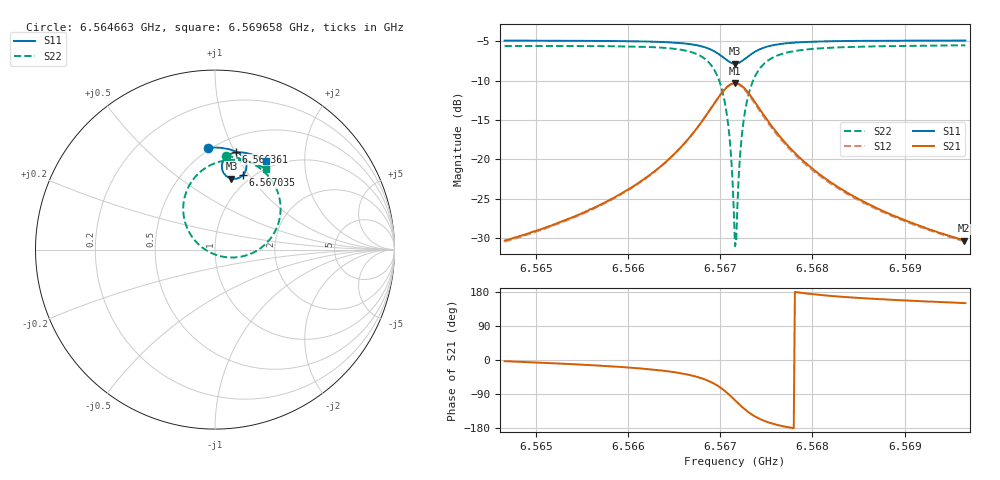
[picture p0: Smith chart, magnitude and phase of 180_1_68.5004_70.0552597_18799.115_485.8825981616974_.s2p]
#  HZ  S  RI  R  50.00
! Rohde & Schwarz Vector Network Analyzer
! Rohde-Schwarz,ZNB20-2Port,1311601062101988,3.16
! Created: UTC 3/20/2024, 5:11:48 PM
! freq[Hz]  re:S11  im:S11  re:S21  im:S21  re:S12  im:S12  re:S22  im:S22
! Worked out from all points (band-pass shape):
!   401 points, 6.564663 GHz to 6.569658 GHz, reference 50 ohm
!   highest |S21| = -10.30 dB at 6.56716 GHz (marker M1); lowest = -30.3 dB at 6.569645 GHz (marker M2)
!   |S21| within 3 dB of the highest: 6.566912 GHz to 6.567411 GHz (498.7 kHz wide, 0.00759 % of centre)
!   lowest |S11| = -7.8 dB at 6.56716 GHz (marker M3), VSWR 2.37, Z = 42.5 + j40.3 ohm
!   |S11| at or under -10 dB: nowhere
!   |S22| runs from -31.0 to -5.5 dB; largest |S21 - S12| = 0.015
!   S11 on the Smith chart (normalised r, x): 6.564663 GHz: 0.48, +0.81; 6.566361 GHz: 0.64, +1.01; 6.567035 GHz: 0.91, +0.94; 6.569658 GHz: 0.89, +1.31
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6.5646628e9  -0.0392 0.5677  0.0305 -0.00167  0.0299 -0.00211  0.0621 0.5225
6.5654995e9  0.0305 0.5667  0.0443 -0.00973  0.0438 -0.0102  0.1448 0.5059
6.5663362e9  0.112 0.5478  0.079 -0.0402  0.0778 -0.0411  0.265 0.4415
6.5663611e9  0.115 0.5464  0.0805 -0.0423  0.0795 -0.0433  0.2697 0.4372
6.5666359e9  0.1487 0.5238  0.1035 -0.0807  0.1019 -0.0823  0.3305 0.3619
6.5668357e9  0.1719 0.4867  0.1156 -0.1456  0.1128 -0.1486  0.3655 0.2369
6.566948e9  0.1739 0.4501  0.1004 -0.2095  0.0948 -0.2136  0.3412 0.115
6.5670355e9  0.1565 0.416  0.053 -0.2678  0.0431 -0.2707  0.2535 0.00747
6.5670979e9  0.1285 0.3979  -0.00897 -0.296  -0.0219 -0.2954  0.1383 -0.0407
6.5671229e9  0.1142 0.3946  -0.0389 -0.2994  -0.0525 -0.2966  0.0838 -0.044
6.5671478e9  0.0991 0.3945  -0.07 -0.2969  -0.0836 -0.2917  0.0285 -0.0365
6.5671603e9  0.0916 0.3958  -0.0853 -0.2934  -0.0986 -0.2869  0.00161 -0.0281
6.5671853e9  0.0774 0.4007  -0.1145 -0.2819  -0.1267 -0.2731  -0.0486 -0.0038
6.5672228e9  0.0592 0.4133  -0.1517 -0.2551  -0.1612 -0.2438  -0.1101 0.0485
6.5672602e9  0.0465 0.4301  -0.1782 -0.2217  -0.1844 -0.2089  -0.1512 0.111
6.5673102e9  0.0388 0.4539  -0.1964 -0.1744  -0.1988 -0.162  -0.1753 0.1958
6.5673726e9  0.0406 0.4807  -0.1987 -0.1226  -0.1977 -0.112  -0.1705 0.2863
6.5675974e9  0.08 0.5298  -0.1498 -0.0264  -0.1463 -0.0218  -0.0633 0.4478
6.567997e9  0.141 0.5422  -0.087 0.00954  -0.0849 0.0109  0.0744 0.4988
6.5688337e9  0.2225 0.5237  -0.0423 0.016  -0.0413 0.0163  0.2063 0.4832
6.5696453e9  0.2841 0.495  -0.0265 0.0151  -0.026 0.0154  0.282 0.4505
6.5696578e9  0.2849 0.4946  -0.0265 0.0153  -0.0258 0.0153  0.2828 0.4501
